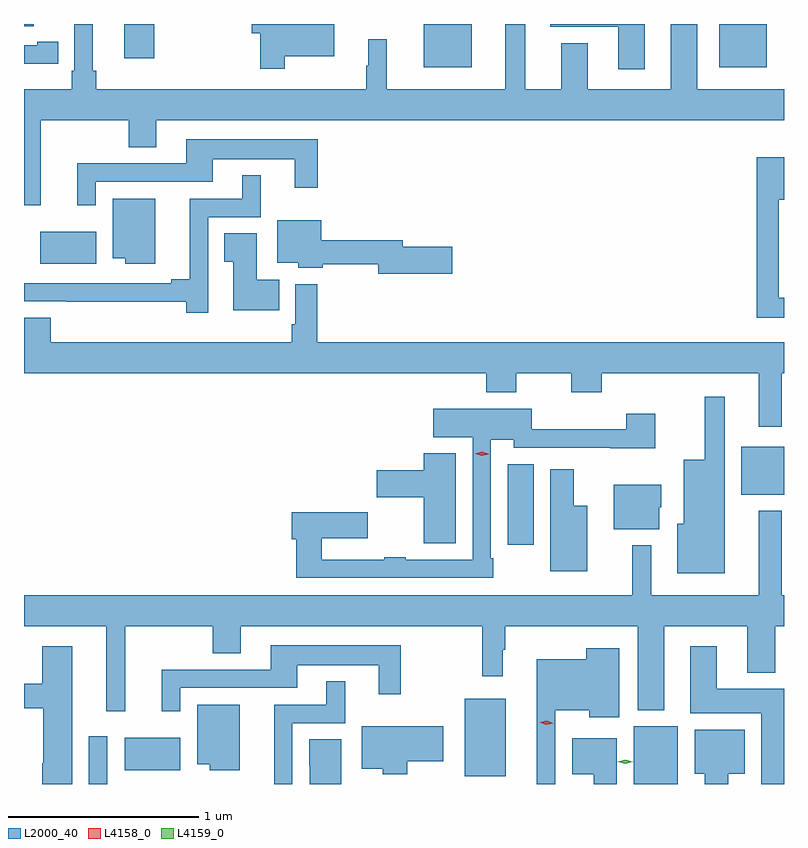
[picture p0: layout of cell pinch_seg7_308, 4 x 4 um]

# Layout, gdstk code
import gdstk
lib = gdstk.Library(unit=1e-6, precision=1e-09)
def R(c, l, rs):  # rectangles x0, y0, x1, y1
    for r in rs: c.add(gdstk.rectangle(r[:2], r[2:], *l))
def P(c, l, *ps):  # polygons
    for p in ps: c.add(gdstk.Polygon(p, *l))
L2000_40 = (2000, 40)
L4158_0 = (4158, 0)
L4159_0 = (4159, 0)

pinch_seg7_308 = lib.new_cell('pinch_seg7_308')
R(pinch_seg7_308, L2000_40, [(585.621,1054.399,585.717,1054.651), (588.488,1054.399,588.721,1054.702), (587.6,1054.439,587.815,1054.849), (585.809,1054.472,586.102,1054.642), (587.825,1055.658,587.962,1056.083), (589.055,1055.921,589.279,1056.175), (585.365,1057.136,585.658,1057.306), (587.384,1058.171,587.635,1058.399), (588.938,1058.171,589.189,1058.399), (585.806,1058.22,585.965,1058.399), (585.279,1058.388,585.329,1058.399)])
P(pinch_seg7_308, L2000_40, [(586.651,1058.228),(586.912,1058.228),(586.912,1058.399),(586.478,1058.399),(586.478,1058.35),(586.522,1058.35),(586.522,1058.163),(586.651,1058.163)],
  [(588.547,1058.399),(588.05,1058.399),(588.05,1058.384),(588.407,1058.384),(588.407,1058.16),(588.547,1058.16)],
  [(585.368,1057.892),(585.829,1057.892),(585.829,1057.75),(585.976,1057.75),(585.976,1057.892),(589.279,1057.892),(589.279,1058.056),(588.823,1058.056),(588.823,1058.399),(588.683,1058.399),(588.683,1058.056),(588.247,1058.056),(588.247,1058.299),(588.107,1058.299),(588.107,1058.056),(587.917,1058.056),(587.917,1058.399),(587.813,1058.399),(587.813,1058.056),(587.189,1058.056),(587.189,1058.32),(587.09,1058.32),(587.09,1058.18),(587.079,1058.18),(587.079,1058.056),(585.659,1058.056),(585.659,1058.152),(585.64,1058.152),(585.64,1058.399),(585.543,1058.399),(585.543,1058.152),(585.53,1058.152),(585.53,1058.056),(585.279,1058.056),(585.279,1057.446),(585.368,1057.446)],
  [(585.35,1058.19),(585.458,1058.19),(585.458,1058.306),(585.35,1058.306),(585.35,1058.286),(585.279,1058.286),(585.279,1058.189),(585.35,1058.189)],
  [(585.657,1057.569),(586.273,1057.569),(586.273,1057.688),(586.703,1057.688),(586.703,1057.536),(586.825,1057.536),(586.825,1057.792),(586.133,1057.792),(586.133,1057.665),(585.56,1057.665),(585.56,1057.446),(585.657,1057.446)],
  [(589.279,1056.957),(589.251,1056.957),(589.251,1057.473),(589.279,1057.473),(589.279,1057.699),(589.135,1057.699),(589.135,1056.852),(589.279,1056.852)],
  [(586.248,1057.383),(586.525,1057.383),(586.525,1057.603),(586.427,1057.603),(586.427,1057.479),(586.151,1057.479),(586.151,1057.055),(586.055,1057.055),(586.055,1057.035),(585.279,1057.035),(585.279,1056.939),(585.502,1056.939),(585.502,1056.938),(586.132,1056.938),(586.132,1056.879),(586.248,1056.879)],
  [(585.97,1057.48),(585.746,1057.48),(585.746,1057.166),(585.812,1057.166),(585.812,1057.136),(585.97,1057.136)],
  [(587.533,1057.226),(587.272,1057.226),(587.272,1057.262),(586.843,1057.262),(586.843,1057.366),(586.613,1057.366),(586.613,1057.142),(586.722,1057.142),(586.722,1057.115),(586.851,1057.115),(586.851,1057.134),(587.144,1057.134),(587.144,1057.084),(587.533,1057.084)],
  [(586.622,1057.054),(586.504,1057.054),(586.504,1057.298),(586.333,1057.298),(586.333,1057.147),(586.379,1057.147),(586.379,1056.893),(586.622,1056.893)],
  [(589.267,1056.56),(589.279,1056.56),(589.279,1056.724),(586.823,1056.724),(586.823,1057.03),(586.707,1057.03),(586.707,1056.82),(586.687,1056.82),(586.687,1056.724),(585.419,1056.724),(585.419,1056.854),(585.279,1056.854),(585.279,1056.56),(587.711,1056.56),(587.711,1056.461),(587.871,1056.461),(587.871,1056.56),(588.16,1056.56),(588.16,1056.461),(588.32,1056.461),(588.32,1056.56),(589.145,1056.56),(589.145,1056.279),(589.267,1056.279)],
  [(588.967,1056.436),(588.861,1056.436),(588.861,1056.106),(588.752,1056.106),(588.752,1055.77),(588.716,1055.77),(588.716,1055.507),(588.967,1055.507)],
  [(587.749,1055.587),(587.736,1055.587),(587.736,1056.212),(587.856,1056.212),(587.856,1056.168),(588.365,1056.168),(588.365,1056.167),(588.601,1056.167),(588.601,1056.349),(588.449,1056.349),(588.449,1056.266),(587.952,1056.266),(587.952,1056.373),(587.433,1056.373),(587.433,1056.224),(587.64,1056.224),(587.64,1055.58),(587.288,1055.58),(587.288,1055.593),(587.176,1055.593),(587.176,1055.58),(586.847,1055.58),(586.847,1055.693),(587.089,1055.693),(587.089,1055.828),(586.688,1055.828),(586.688,1055.686),(586.711,1055.686),(586.711,1055.484),(587.749,1055.484)],
  [(587.551,1056.139),(587.384,1056.139),(587.384,1056.05),(587.136,1056.05),(587.136,1055.908),(587.384,1055.908),(587.384,1055.665),(587.551,1055.665)],
  [(588.244,1055.863),(588.172,1055.863),(588.172,1056.055),(588.05,1056.055),(588.05,1055.519),(588.244,1055.519)],
  [(588.622,1055.856),(588.634,1055.856),(588.634,1055.974),(588.383,1055.974),(588.383,1055.741),(588.622,1055.741)],
  [(585.812,1055.228),(586.273,1055.228),(586.273,1055.086),(586.42,1055.086),(586.42,1055.228),(587.691,1055.228),(587.691,1054.965),(587.8,1054.965),(587.8,1055.105),(587.812,1055.105),(587.812,1055.228),(588.509,1055.228),(588.509,1054.787),(588.649,1054.787),(588.649,1055.228),(589.085,1055.228),(589.085,1054.985),(589.233,1054.985),(589.233,1055.228),(589.279,1055.228),(589.279,1055.392),(589.267,1055.392),(589.267,1055.836),(589.145,1055.836),(589.145,1055.392),(588.58,1055.392),(588.58,1055.656),(588.481,1055.656),(588.481,1055.392),(585.279,1055.392),(585.279,1055.228),(585.713,1055.228),(585.713,1054.782),(585.812,1054.782)],
  [(586.101,1054.905),(586.717,1054.905),(586.717,1055.024),(587.147,1055.024),(587.147,1054.872),(587.261,1054.872),(587.261,1055.128),(586.577,1055.128),(586.577,1055.001),(586.004,1055.001),(586.004,1054.782),(586.101,1054.782)],
  [(589.279,1054.9),(588.925,1054.9),(588.925,1055.125),(588.785,1055.125),(588.785,1054.772),(589.16,1054.772),(589.16,1054.399),(589.279,1054.399)],
  [(585.532,1055.125),(585.374,1055.125),(585.374,1054.927),(585.279,1054.927),(585.279,1054.798),(585.379,1054.798),(585.379,1054.509),(585.374,1054.509),(585.374,1054.399),(585.532,1054.399)],
  [(588.075,1054.787),(588.254,1054.787),(588.254,1054.751),(588.412,1054.751),(588.412,1055.113),(588.237,1055.113),(588.237,1055.056),(587.978,1055.056),(587.978,1054.399),(588.075,1054.399)],
  [(586.692,1054.719),(586.969,1054.719),(586.969,1054.939),(586.871,1054.939),(586.871,1054.815),(586.595,1054.815),(586.595,1054.399),(586.692,1054.399)],
  [(586.414,1054.816),(586.19,1054.816),(586.19,1054.502),(586.256,1054.502),(586.256,1054.472),(586.414,1054.472)],
  [(587.295,1054.519),(587.485,1054.519),(587.485,1054.702),(587.057,1054.702),(587.057,1054.478),(587.166,1054.478),(587.166,1054.451),(587.295,1054.451)],
  [(588.985,1054.454),(589.072,1054.454),(589.072,1054.684),(588.809,1054.684),(588.809,1054.454),(588.863,1054.454),(588.863,1054.399),(588.985,1054.399)],
  [(588.4,1054.639),(588.164,1054.639),(588.164,1054.451),(588.278,1054.451),(588.278,1054.399),(588.4,1054.399)],
  [(586.948,1054.634),(586.781,1054.634),(586.781,1054.494),(586.784,1054.494),(586.784,1054.399),(586.948,1054.399)])
P(pinch_seg7_308, L4158_0, [(588.028,1054.712),(587.993,1054.723),(587.993,1054.724),(587.993,1054.724),(588.029,1054.732),(588.064,1054.72),(588.065,1054.72),(588.064,1054.72)],
  [(587.688,1056.127),(587.654,1056.138),(587.654,1056.138),(587.654,1056.138),(587.689,1056.147),(587.723,1056.136),(587.724,1056.135),(587.723,1056.135)])
P(pinch_seg7_308, L4159_0, [(588.443,1054.506),(588.404,1054.516),(588.404,1054.516),(588.404,1054.517),(588.443,1054.526),(588.482,1054.517),(588.482,1054.516),(588.482,1054.516)])

lib.write_gds('pinch_seg7_308.gds')
